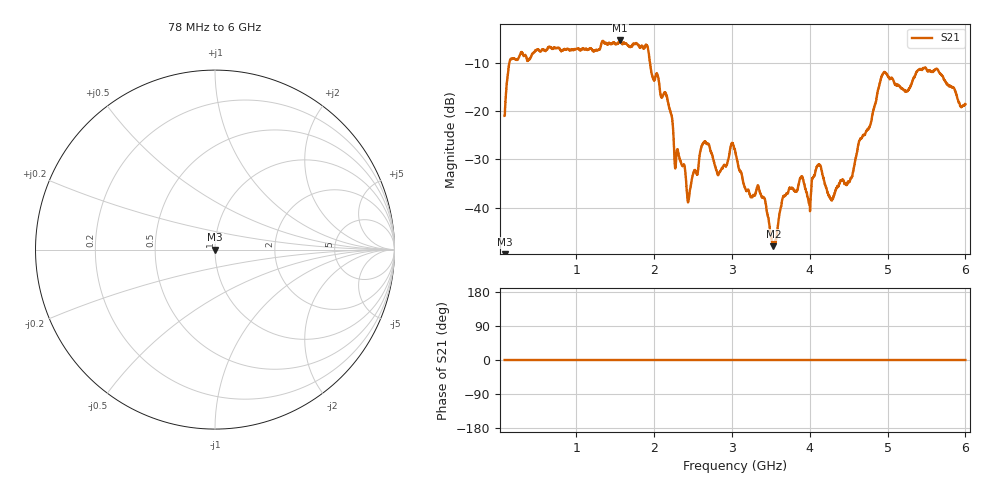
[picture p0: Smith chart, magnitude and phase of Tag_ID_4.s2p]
!	Parâmetros S - Tag_ID_4
#	Hz	S	MA	R	50
!	Freq	magS11	angS11	magS21	angS21	magS12	angS12	magS22	angS22
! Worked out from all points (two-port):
!   5923 points, 78 MHz to 6 GHz, reference 50 ohm
!   highest |S21| = -5.44 dB at 1.562 GHz (marker M1); lowest = -47.9 dB at 3.532 GHz (marker M2)
!   |S21| within 3 dB of the highest: 275.1 MHz to 317.1 MHz (41.94 MHz wide, 14.2 % of centre); 425.5 MHz to 1.933 GHz (1.508 GHz wide, 128 % of centre) (the widest 2 of 3)
!   lowest |S11| = - dB at 78 MHz (marker M3), VSWR 1.00, Z = 50 + j0 ohm
!   |S11| at or under -10 dB: start of sweep to end of sweep
!   S12 and S22 are empty: the file has one direction only
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7.8e7  0 0.0  0.08884 0.0  0 0.0  0 0.0
1.71e8  0 0.0  0.3452 0.0  0 0.0  0 0.0
1.065e9  0 0.0  0.4331 0.0  0 0.0  0 0.0
1.562e9  0 0.0  0.5347 0.0  0 0.0  0 0.0
1.9e9  0 0.0  0.4807 0.0  0 0.0  0 0.0
2.052e9  0 0.0  0.2225 0.0  0 0.0  0 0.0
2.441e9  0 0.0  0.01164 0.0  0 0.0  0 0.0
2.635e9  0 0.0  0.04656 0.0  0 0.0  0 0.0
2.824e9  0 0.0  0.0219 0.0  0 0.0  0 0.0
3.039e9  0 0.0  0.03968 0.0  0 0.0  0 0.0
3.173e9  0 0.0  0.01563 0.0  0 0.0  0 0.0
3.412e9  0 0.0  0.0126 0.0  0 0.0  0 0.0
3.532e9  0 0.0  0.004005 0.0  0 0.0  0 0.0
3.673e9  0 0.0  0.01322 0.0  0 0.0  0 0.0
4.026e9  0 0.0  0.01916 0.0  0 0.0  0 0.0
4.114e9  0 0.0  0.02789 0.0  0 0.0  0 0.0
4.272e9  0 0.0  0.01222 0.0  0 0.0  0 0.0
4.499e9  0 0.0  0.01835 0.0  0 0.0  0 0.0
4.925e9  0 0.0  0.2295 0.0  0 0.0  0 0.0
5.013e9  0 0.0  0.2217 0.0  0 0.0  0 0.0
5.631e9  0 0.0  0.2734 0.0  0 0.0  0 0.0
6e9  0 0.0  0.1168 0.0  0 0.0  0 0.0
